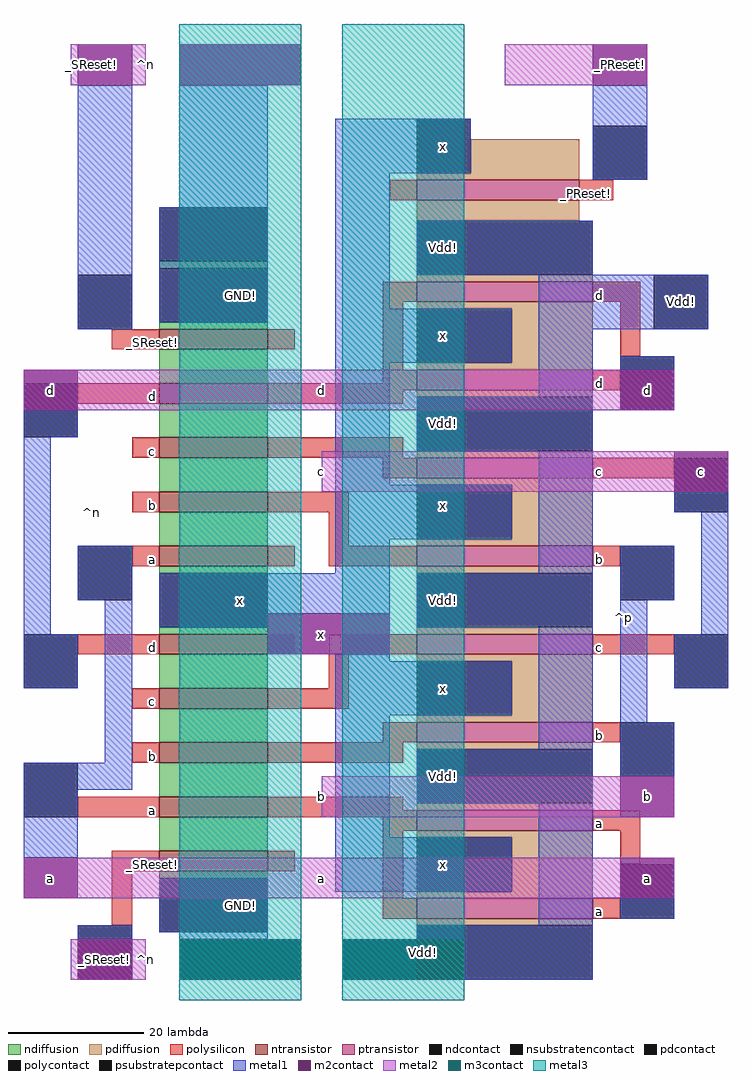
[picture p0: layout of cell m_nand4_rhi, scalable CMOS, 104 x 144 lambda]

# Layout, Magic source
magic
tech scmos
<< ndiffusion >>
rect -24 -715 -8 -714
rect -24 -724 -8 -723
rect -24 -732 -8 -727
rect -24 -740 -8 -735
rect -24 -748 -8 -743
rect -24 -756 -8 -751
rect -24 -760 -8 -759
rect -24 -769 -8 -768
rect -24 -777 -8 -772
rect -24 -785 -8 -780
rect -24 -793 -8 -788
rect -24 -801 -8 -796
rect -24 -805 -8 -804
<< pdiffusion >>
rect 22 -701 38 -696
rect 14 -702 38 -701
rect 14 -708 38 -705
rect 14 -717 40 -716
rect 14 -721 40 -720
rect 28 -729 40 -721
rect 14 -730 40 -729
rect 14 -734 40 -733
rect 14 -743 40 -742
rect 14 -747 40 -746
rect 28 -755 40 -747
rect 14 -756 40 -755
rect 14 -760 40 -759
rect 14 -769 40 -768
rect 14 -773 40 -772
rect 28 -781 40 -773
rect 14 -782 40 -781
rect 14 -786 40 -785
rect 14 -795 40 -794
rect 14 -799 40 -798
rect 28 -807 40 -799
rect 14 -808 40 -807
rect 14 -812 40 -811
<< ntransistor >>
rect -24 -727 -8 -724
rect -24 -735 -8 -732
rect -24 -743 -8 -740
rect -24 -751 -8 -748
rect -24 -759 -8 -756
rect -24 -772 -8 -769
rect -24 -780 -8 -777
rect -24 -788 -8 -785
rect -24 -796 -8 -793
rect -24 -804 -8 -801
<< ptransistor >>
rect 14 -705 38 -702
rect 14 -720 40 -717
rect 14 -733 40 -730
rect 14 -746 40 -743
rect 14 -759 40 -756
rect 14 -772 40 -769
rect 14 -785 40 -782
rect 14 -798 40 -795
rect 14 -811 40 -808
<< polysilicon >>
rect 10 -705 14 -702
rect 38 -705 43 -702
rect 9 -720 14 -717
rect 40 -720 47 -717
rect -31 -727 -24 -724
rect -8 -727 -4 -724
rect 9 -730 12 -720
rect 44 -728 47 -720
rect 9 -732 14 -730
rect -36 -735 -24 -732
rect -8 -733 14 -732
rect 40 -733 44 -730
rect -8 -735 12 -733
rect -28 -743 -24 -740
rect -8 -743 12 -740
rect 9 -746 14 -743
rect 40 -746 52 -743
rect -28 -751 -24 -748
rect -8 -751 4 -748
rect 1 -756 4 -751
rect -28 -759 -24 -756
rect -8 -759 -4 -756
rect 1 -759 14 -756
rect 40 -759 44 -756
rect -36 -772 -24 -769
rect -8 -772 -4 -769
rect 1 -772 14 -769
rect 40 -772 52 -769
rect 1 -777 4 -772
rect -28 -780 -24 -777
rect -8 -780 4 -777
rect 9 -785 14 -782
rect 40 -785 44 -782
rect -28 -788 -24 -785
rect -8 -788 12 -785
rect -36 -796 -24 -793
rect -8 -795 12 -793
rect -8 -796 14 -795
rect 9 -798 14 -796
rect 40 -798 47 -795
rect -31 -804 -24 -801
rect -8 -804 -4 -801
rect -31 -812 -28 -804
rect 9 -808 12 -798
rect 44 -803 47 -798
rect 9 -811 14 -808
rect 40 -811 44 -808
<< ndcontact >>
rect -24 -723 -8 -715
rect -24 -768 -8 -760
rect -24 -813 -8 -805
<< pdcontact >>
rect 14 -701 22 -693
rect 14 -716 40 -708
rect 14 -729 28 -721
rect 14 -742 40 -734
rect 14 -755 28 -747
rect 14 -768 40 -760
rect 14 -781 28 -773
rect 14 -794 40 -786
rect 14 -807 28 -799
rect 14 -820 40 -812
<< psubstratepcontact >>
rect -24 -714 -8 -706
<< nsubstratencontact >>
rect 49 -724 57 -716
<< polycontact >>
rect 40 -702 48 -694
rect -36 -724 -28 -716
rect -44 -740 -36 -732
rect 44 -736 52 -728
rect 52 -751 60 -743
rect -36 -764 -28 -756
rect 44 -764 52 -756
rect -44 -777 -36 -769
rect 52 -777 60 -769
rect -44 -796 -36 -788
rect 44 -790 52 -782
rect -36 -820 -28 -812
rect 44 -811 52 -803
<< metal1 >>
rect -36 -724 -28 -688
rect -21 -706 -8 -688
rect -24 -723 -8 -706
rect 2 -701 22 -693
rect 2 -721 10 -701
rect 40 -702 48 -688
rect 14 -716 40 -708
rect 2 -729 28 -721
rect 32 -724 57 -716
rect -44 -740 -36 -736
rect -44 -769 -40 -740
rect 2 -747 10 -729
rect 32 -734 40 -724
rect 14 -742 40 -734
rect 44 -730 52 -728
rect 2 -755 28 -747
rect -36 -764 -28 -756
rect 2 -760 10 -755
rect 32 -760 40 -742
rect 52 -751 60 -748
rect -44 -777 -36 -769
rect -32 -788 -28 -764
rect -24 -766 10 -760
rect -24 -768 -8 -766
rect 14 -768 40 -760
rect -44 -792 -28 -788
rect 2 -773 10 -772
rect 2 -781 28 -773
rect -44 -802 -36 -792
rect 2 -799 10 -781
rect 32 -786 40 -768
rect 14 -794 40 -786
rect -36 -814 -28 -812
rect -24 -813 -8 -805
rect 2 -807 28 -799
rect 32 -812 40 -794
rect 44 -764 52 -756
rect 44 -782 48 -764
rect 56 -769 60 -751
rect 52 -777 60 -769
rect 44 -790 52 -782
rect 44 -811 52 -808
rect -21 -814 -8 -813
rect 14 -814 40 -812
rect 21 -820 40 -814
<< m2contact >>
rect -36 -688 -28 -682
rect -21 -688 -3 -682
rect 40 -688 48 -682
rect -44 -736 -36 -730
rect 44 -736 52 -730
rect 52 -748 60 -742
rect -8 -772 10 -766
rect -44 -808 -36 -802
rect 44 -796 52 -790
rect 44 -808 52 -802
rect -36 -820 -28 -814
rect -21 -820 -3 -814
rect 3 -820 21 -814
<< metal2 >>
rect -37 -688 -26 -682
rect -21 -688 -3 -682
rect 27 -688 48 -682
rect -44 -736 52 -730
rect 0 -748 60 -742
rect -8 -772 10 -766
rect 0 -796 52 -790
rect -44 -808 52 -802
rect -37 -820 -26 -814
<< m3contact >>
rect -21 -820 -3 -814
rect 3 -820 21 -814
<< metal3 >>
rect -21 -823 -3 -679
rect 3 -823 21 -679
<< labels >>
rlabel metal1 18 -750 18 -750 1 x
rlabel metal1 18 -725 18 -725 5 x
rlabel metal1 18 -738 18 -738 5 Vdd!
rlabel metal1 18 -764 18 -764 5 Vdd!
rlabel metal1 18 -790 18 -790 1 Vdd!
rlabel metal1 18 -803 18 -803 1 x
rlabel metal1 18 -777 18 -777 5 x
rlabel metal1 18 -712 18 -712 1 Vdd!
rlabel metal1 -12 -764 -12 -764 5 x
rlabel metal1 -12 -719 -12 -719 5 GND!
rlabel metal1 -12 -809 -12 -809 1 GND!
rlabel polysilicon -25 -758 -25 -758 3 a
rlabel polysilicon -25 -750 -25 -750 3 b
rlabel polysilicon -25 -742 -25 -742 3 c
rlabel polysilicon -25 -734 -25 -734 1 d
rlabel polysilicon -25 -787 -25 -787 3 b
rlabel polysilicon -25 -795 -25 -795 3 a
rlabel polysilicon -25 -779 -25 -779 1 c
rlabel polysilicon -25 -726 -25 -726 1 _SReset!
rlabel polysilicon -25 -803 -25 -803 1 _SReset!
rlabel polysilicon -25 -771 -25 -771 1 d
rlabel polysilicon 41 -810 41 -810 7 a
rlabel polysilicon 41 -719 41 -719 7 d
rlabel polysilicon 41 -784 41 -784 7 b
rlabel polysilicon 41 -732 41 -732 7 d
rlabel polysilicon 41 -797 41 -797 7 a
rlabel polysilicon 41 -771 41 -771 7 c
rlabel polysilicon 41 -758 41 -758 7 b
rlabel polysilicon 41 -745 41 -745 7 c
rlabel metal1 18 -697 18 -697 5 x
rlabel polysilicon 39 -704 39 -704 7 _PReset!
rlabel metal2 44 -685 44 -685 7 _PReset!
rlabel metal2 -32 -817 -32 -817 3 _SReset!
rlabel space 28 -821 61 -712 3 ^p
rlabel m2contact 15 -816 15 -816 1 Vdd!
rlabel metal2 -26 -820 -26 -814 3 ^n
rlabel space -45 -821 -23 -681 7 ^n
rlabel metal2 -34 -685 -34 -685 3 _SReset!
rlabel metal2 -26 -688 -26 -682 3 ^n
rlabel metal2 0 -796 0 -790 3 b
rlabel metal2 0 -748 0 -742 3 c
rlabel metal2 0 -769 0 -769 1 x
rlabel metal2 0 -808 0 -802 1 a
rlabel metal2 0 -736 0 -730 1 d
rlabel metal1 53 -720 53 -720 1 Vdd!
rlabel metal2 -40 -805 -40 -805 3 a
rlabel metal2 48 -805 48 -805 1 a
rlabel metal2 48 -793 48 -793 1 b
rlabel metal2 56 -745 56 -745 7 c
rlabel metal2 -40 -733 -40 -733 3 d
rlabel metal2 48 -733 48 -733 1 d
<< end >>
